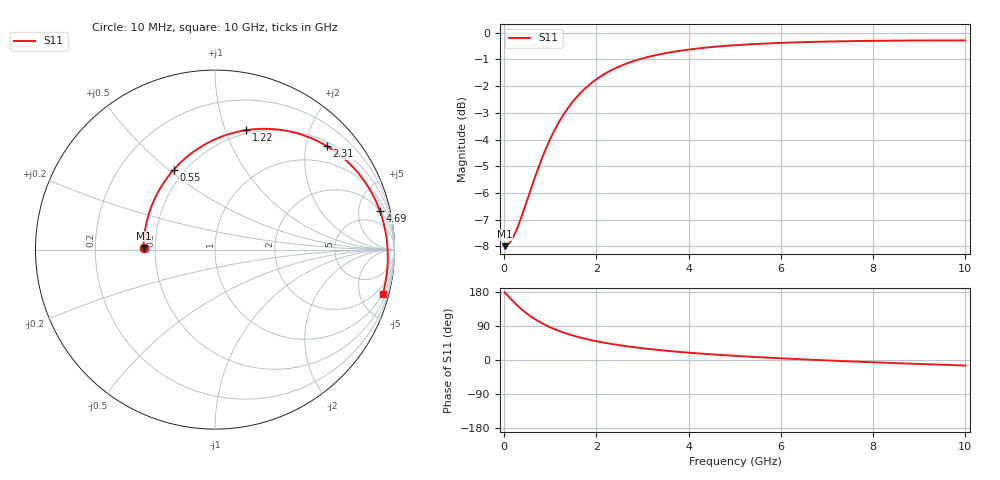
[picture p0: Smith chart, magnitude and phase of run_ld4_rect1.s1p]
#  Hz  S  RI  R  50
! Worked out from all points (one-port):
!   1000 points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, 10 MHz to 10 GHz, reference 50 ohm
!   lowest |S11| = -8.0 dB at 10 MHz (marker M1), VSWR 2.32, Z = 21.5 + j0.469 ohm
!   |S11| at or under -10 dB: nowhere
!   S11 on the Smith chart (normalised r, x): 10 MHz: 0.43, +0.01; 550 MHz: 0.44, +0.52; 1.22 GHz: 0.47, +1.18; 2.31 GHz: 0.59, +2.44; 4.69 GHz: 2.04, +8.04; 10 GHz: 1.00, -7.62
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1e7  -0.3983 0.00918
5e7  -0.3968 0.0459
1.3e8  -0.3879 0.1185
2.6e8  -0.3572 0.2317
4e8  -0.3045 0.3428
5.5e8  -0.2304 0.4448
7.1e8  -0.1382 0.5315
8.7e8  -0.0393 0.5952
1.04e9  0.0663 0.6399
1.22e9  0.1734 0.6653
1.26e9  0.1962 0.6684
1.49e9  0.3181 0.6716
1.77e9  0.4443 0.6515
2.03e9  0.5406 0.6187
2.31e9  0.6247 0.5757
2.51e9  0.6744 0.5427
2.78e9  0.7302 0.4973
3.08e9  0.7798 0.4476
3.4e9  0.8216 0.3965
3.76e9  0.8581 0.3422
4.2e9  0.8914 0.2805
4.69e9  0.9179 0.2176
5.01e9  0.9306 0.1795
5.6e9  0.9472 0.1144
6.26e9  0.9579 0.0482
7.51e9  0.9626 -0.0624
8.76e9  0.9538 -0.1592
1e10  0.9356 -0.2455
